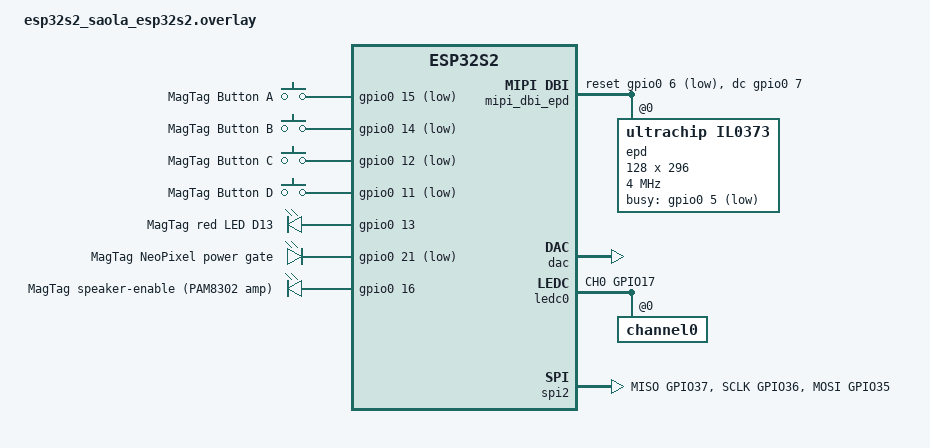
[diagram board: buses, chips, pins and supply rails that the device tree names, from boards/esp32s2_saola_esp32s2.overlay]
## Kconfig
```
# oevm app Kconfig — WiFi credentials for the ESP32 HTTP node (#46).
# Values are supplied by the git-ignored overlay prj_esp32_wifi.local.conf;
# the defaults below keep non-WiFi boards (DK/dongle) building.
config OEVM_WIFI_SSID
	string "WiFi SSID for the HTTP node"
	default ""

config OEVM_WIFI_PSK
	string "WiFi WPA2 PSK for the HTTP node"
	default ""

# #65 diagnostic. Default n so it never ships in a normal build: it costs a
# thread + stack and prints forever. Turned on by the prj_esp32_netdiag.conf
# overlay (run.sh --conf-extra), which also enables NET_BUF_POOL_USAGE.
config OEVM_NET_HEARTBEAT
	bool "Periodic net-buffer / context census on the console (#65 diagnostic)"
	default n
	depends on NETWORKING
	help
	  Prints a one-line census of the net_pkt slabs, the net_buf data pools and
	  the in-use net_contexts every OEVM_NET_HEARTBEAT_MS. Exists to answer one
	  question: when the node goes unreachable under load while still associated
	  to the AP, has a packet pool drained to zero (exhaustion) or is the kernel
	  no longer scheduling at all (deadlock)? The line stopping is as much of a
	  result as any value in it.

config OEVM_NET_HEARTBEAT_MS
	int "Heartbeat period in milliseconds"
	default 2000
	depends on OEVM_NET_HEARTBEAT

# #56 D8. Default n so it is not merely unreachable in a normal build but
# absent from it. Turned on by prj_esp32c6_faultgate.conf (run.sh --conf-extra),
# which also enables the coredump backend — a fault with no #CD: lines is a
# banner, not evidence. Same shape as OEVM_NET_HEARTBEAT above.
config OEVM_FAULT_TRIGGER
	bool "Fault on purpose at boot, to exercise the symbolizing path (#56)"
	default n
	help
	  Dereferences a null pointer from a known source line shortly after boot.
	  Exists so custos's backtrace (GET /board/<n>/panics/<i>/bt) is proven by a scripted gate rather than
	  by the next real incident. If this is set in a build you did not
	  deliberately configure, that build is wrong.

# rete#215 §8 row 1. Default n so it is not merely unreachable in a normal build but
# ABSENT from it — the same shape as OEVM_FAULT_TRIGGER above, and turned on only by
# prj_esp32c6_wedgegate.conf. It exists so "the note survives a watchdog reset" is proven
# by a scripted gate rather than by the next real wedge.
#
# This is NOT the Kconfig bench/field split design §9 rules out: the DETECTOR ships
# always-on and unchanged. What this gates is a synthetic wedge, and a gate needs one
# because a real wedge cannot be summoned on demand.
config OEVM_WEDGE_TRIGGER
	bool "Wedge on purpose after OEVM_WEDGE_TRIGGER_S seconds (rete#215)"
	default n
	help
	  Stops the reactor draining the pulse mailbox, which the observer must then
	  detect as OBS_COND_APP_STALE (rete#273: the feed stops moving past the
	  declared app cadence). If this is set in a build you did not
	  deliberately configure, that build is wrong.

config OEVM_WEDGE_TRIGGER_S
	int "Seconds after boot before the synthetic wedge"
	default 15
	depends on OEVM_WEDGE_TRIGGER

config OEVM_WEDGE_FORENSICS
	bool "Dump reactor/thread state when the wedge detector fires (rete#222)"
	default n
	select THREAD_MONITOR
	select THREAD_NAME
	select THREAD_STACK_INFO
	select INIT_STACKS
	select THREAD_RUNTIME_STATS   # SCHED_THREAD_USAGE defaults y underneath it
	help
	  EVIDENCE ONLY — it changes no verdict and reboots nothing. On a wedge the
	  observer additionally prints whether the VM's own cursors are still advancing,
	  and walks every thread for its state and stack headroom. That separates a
	  reactor stuck in the interpreter from one blocked on something that is not the
	  pulse mailbox, which is the fact #222, #192 and #213 have all lacked.

	  Not default-on: the selects cost SRAM (INIT_STACKS paints every stack) and the
	  T0.3 footprint ratchet is 75% spent. Turn it on for a hunt, not for a ship.

# rete#440 R1: the Net reader (src/backend/zephyr/udp_zephyr.c) waits in zsock_poll over
# the VM's sockets and the http listener, plus one eventfd that wakes it when that set
# changes. Every socket build links udp_zephyr.c (a Bluetooth build links udp_ble.c,
# which needs no reader), so this is not a choice: it follows the backend. The eventfd
# takes one descriptor, so the table grows by exactly one over Zephyr's own defaults
# (these defaults are read first, the app Kconfig being parsed before Kconfig.zephyr).
config OEVM_NET_READER
	bool
	default y if NET_SOCKETS && !BT
	select ZVFS
	select ZVFS_EVENTFD

config ZVFS_OPEN_MAX
	default 17 if OEVM_NET_READER && (WIFI_NM_WPA_SUPPLICANT || POSIX_API)
	default 5 if OEVM_NET_READER

# Every fd the build can open is pollable by the reader (PR #462 review): a socket the
# reader has no room for fails its bind, and this is what keeps that from happening.
# The reader's own stack and priority (2048 B, K_PRIO_PREEMPT(10)) copy the console
# tee's (log_udp.c, also 2048 B at K_PRIO_PREEMPT(10)); see udp_zephyr.c.
config ZVFS_POLL_MAX
	default ZVFS_OPEN_MAX if OEVM_NET_READER

source "Kconfig.zephyr"
```

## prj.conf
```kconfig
# oevm/zephyr — native_sim bring-up gate (Task 7). Minimal console + a
# generous main stack + heap for the VM arena. No OpenThread (native_sim has
# no radio); no USB-CDC (native_sim's console is the host's own stdout).
CONFIG_CONSOLE=y
CONFIG_STDOUT_CONSOLE=y

# libc with malloc/realloc/free, setjmp, snprintf, FP printf for the VM.
# native_sim selects picolibc by default; NEWLIB_LIBC is a no-op but harmless
# (mirrors ns-zephyr/app/prj_nativesim.conf's own note).
CONFIG_NEWLIB_LIBC=y
CONFIG_NEWLIB_LIBC_FLOAT_PRINTF=y
CONFIG_CBPRINTF_FP_SUPPORT=y
CONFIG_HEAP_MEM_POOL_SIZE=65536

CONFIG_MAIN_STACK_SIZE=16384

# Networking: src/dispatch.c's send() fast path unconditionally probes
# `receiver == udp_object()`, so src/udp.c + src/backend/zephyr/udp_zephyr.c
# must link even though this gate's node never grants a `net` capability.
# native_sim offloaded sockets (NSOS) — verbatim from
# ns-zephyr/app/prj_nativesim.conf, the proven native_sim UDP recipe on this
# workspace. No CONFIG_POSIX_API: it exports a bare `send()` that collides
# with oevm's own `send()` dispatch function in dispatch.c.
CONFIG_NETWORKING=y
CONFIG_NET_IPV6=y
CONFIG_NET_IPV4=y
CONFIG_NET_UDP=y
CONFIG_NET_DRIVERS=y
CONFIG_NET_SOCKETS=y
CONFIG_NET_SOCKETS_OFFLOAD=y
CONFIG_NET_NATIVE_OFFLOADED_SOCKETS=y
CONFIG_ETH_NATIVE_TAP=n
CONFIG_NET_IPV6_DAD=n
CONFIG_NET_MAX_CONTEXTS=8
CONFIG_NET_PKT_RX_COUNT=16
CONFIG_NET_PKT_TX_COUNT=16
CONFIG_NET_BUF_RX_COUNT=32
CONFIG_NET_BUF_TX_COUNT=32
```

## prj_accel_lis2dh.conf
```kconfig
# The sensor seam's 'accel' kind on Zephyr's st,lis2dh driver (rete#436): the
# LIS2DH family and the LSM303AGR accelerometer. Stacked with --conf-extra on top
# of a board's CONF_FILE; the board's devicetree overlay supplies the node and the
# `accel0` alias (run.sh --dtc-overlay, rete#438).
CONFIG_I2C=y
CONFIG_SENSOR=y
CONFIG_LIS2DH=y
# Any-motion (sensorArm:) needs a trigger mode. The global system work queue, not
# an own thread: the handler only posts a pulse, so a dedicated stack buys nothing.
CONFIG_LIS2DH_TRIGGER_GLOBAL_THREAD=y
# Any-motion compares high-passed acceleration, not gravity (sensor_zephyr.c arm_cfg).
CONFIG_LIS2DH_ACCEL_HP_FILTERS=y
```

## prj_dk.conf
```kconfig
# oevm/zephyr — Task 8 (nRF52840-DK acceptance bar) Kconfig.
#
# Selected explicitly with `west build -b nrf52840dk/nrf52840 -- -DCONF_FILE=prj_dk.conf`
# so the native_sim gate's prj.conf (Task 7) is NOT consulted — its NSOS
# offloaded-sockets block is native_sim-only and has no meaning on silicon. This
# file is the on-target counterpart: the SAME engine + zephyr backend, but with
# the console on the DK's uart0/VCOM and Zephyr's REAL in-kernel UDP stack over a
# loopback interface (the proven nRF52840 recipe from
# ns-zephyr/app/prj_dongle_loopback.conf).

# Console on uart0 -> the DK's on-board SEGGER VCOM (/dev/ttyACM0 on the host).
# This is the DK board default; stated explicitly for provenance. No USB-CDC:
# the DK routes its console to uart0, unlike the dongle.
CONFIG_CONSOLE=y
CONFIG_UART_CONSOLE=y
CONFIG_STDOUT_CONSOLE=y

# libc with malloc/realloc/free, setjmp, snprintf, FP printf for the VM arena.
# Sizes trimmed for the nRF52840's 256 KB SRAM (the native_sim gate's 64 KB pool
# / 16 KB stack are host-generous): the VM's own arena is the static
# `oevm_heap_store` (gc.c), sized by the OEVM_HEAP_SIZE compile-def passed via
# env at build time (65536 here — ~72 KB incl. the 1-bit-per-granule GC bitmap),
# NOT by CONFIG_HEAP_MEM_POOL_SIZE (that is Zephyr's own k_malloc pool, used by
# the net stack). 16 KB pool + 8 KB main stack mirror ns-zephyr's proven
# nRF52840 loopback config.
CONFIG_NEWLIB_LIBC=y
CONFIG_NEWLIB_LIBC_FLOAT_PRINTF=y
CONFIG_CBPRINTF_FP_SUPPORT=y
CONFIG_HEAP_MEM_POOL_SIZE=16384
CONFIG_MAIN_STACK_SIZE=8192
CONFIG_FPU=y

# GPIO: the on-board BUTTON1 (P0.11) is the physical edge source. The board DTS
# already enables gpio0; the overlay adds the `pulsegpio` alias onto button0.
CONFIG_GPIO=y

# Networking: Zephyr's in-kernel IPv6 + IPv4 UDP over a loopback interface —
# same reason as the native_sim gate, src/dispatch.c's send() fast path
# unconditionally probes `receiver == udp_object()`, so src/udp.c +
# src/backend/zephyr/udp_zephyr.c must LINK even though this gate's node grants
# no `net` capability. On silicon that means the real stack (no NSOS). NO
# CONFIG_POSIX_API: it exports a bare send() that collides with oevm's own
# send() dispatch function. Verbatim from ns-zephyr/app/prj_dongle_loopback.conf.
CONFIG_NETWORKING=y
CONFIG_NET_IPV6=y
CONFIG_NET_IPV4=y
CONFIG_NET_UDP=y
CONFIG_NET_SOCKETS=y
CONFIG_NET_DRIVERS=y
CONFIG_NET_LOOPBACK=y
CONFIG_NET_CONFIG_SETTINGS=y
CONFIG_NET_CONFIG_NEED_IPV6=y
CONFIG_NET_CONFIG_MY_IPV6_ADDR="::1"
CONFIG_NET_CONFIG_NEED_IPV4=y
CONFIG_NET_CONFIG_MY_IPV4_ADDR="127.0.0.1"
# Buffer counts trimmed vs the dongle recipe: this gate NEVER moves a packet
# (the net stack is present only so udp_zephyr.c's zsock_* references link), so
# the minimum that boots the loopback interface is enough — saves SRAM for the
# VM arena on the 256 KB part.
CONFIG_NET_MAX_CONTEXTS=4
CONFIG_NET_PKT_RX_COUNT=4
CONFIG_NET_PKT_TX_COUNT=4
CONFIG_NET_BUF_RX_COUNT=8
CONFIG_NET_BUF_TX_COUNT=8
```

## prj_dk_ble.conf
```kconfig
# oevm/zephyr/prj_dk_ble.conf — rete#439: the nRF52840 DK reaching porta over
# Bluetooth LE to a relay on David's phone, which forwards UDP over Tailscale. Same
# board, console and storage as prj_dk_thread.conf; the radio is the only difference.
# Selected with run.sh --board nrf52840dk --conf prj_dk_ble.conf.
CONFIG_CONSOLE=y
CONFIG_UART_CONSOLE=y
CONFIG_STDOUT_CONSOLE=y

CONFIG_NEWLIB_LIBC=y
CONFIG_NEWLIB_LIBC_FLOAT_PRINTF=y
CONFIG_CBPRINTF_FP_SUPPORT=y
CONFIG_FPU=y
CONFIG_HEAP_MEM_POOL_SIZE=32768
CONFIG_MAIN_STACK_SIZE=8192
CONFIG_GPIO=y
# reboot_note.c and ota_zephyr.c call sys_reboot; OpenThread had been selecting this.
CONFIG_REBOOT=y

# No IP stack (rete#439 design rule 2): the datagram seam is udp_ble.c, the console tee
# goes through it (log_udp.c), and http_zephyr.c answers -1 to a listen.

# --- Bluetooth LE peripheral + L2CAP connection-oriented channel (udp_ble.c) -------
CONFIG_BT=y
CONFIG_BT_PERIPHERAL=y
CONFIG_BT_DEVICE_NAME="oevm-dk"
CONFIG_BT_SMP=y
# Pair once (rete#439): the bond persists in settings/NVS; the app refuses a second.
CONFIG_BT_SETTINGS=y
CONFIG_BT_MAX_PAIRED=1
CONFIG_BT_SMP_APP_PAIRING_ACCEPT=y
# Just Works cannot authenticate, so the default MITM demand fails every pairing (error 9,
# measured on the ACC01 2026-10-23). LE Secure Connections stays on: BT_SMP_SC_PAIR_ONLY.
CONFIG_BT_SMP_ENFORCE_MITM=n
# CONFIG_BT_LONG_WQ_PRIO stays at its default (10). Pairing's key agreement runs on that
# queue; while the VM busy-polled for porta's reply it starved past SMP's 30 s timeout
# (ACC01, 2026-10-23) and this file forced 0. rete#440 R2 made the check-in reactions, so
# the VM blocks in the pump between events, and the workaround is removed: OCM.1 paired
# fresh without it (settings erased, re-paired on the Pixel, checked in 2026-11-09 12:49).
CONFIG_BT_L2CAP_DYNAMIC_CHANNEL=y
CONFIG_BT_MAX_CONN=1
# Larger link-layer packets: fewer radio events per datagram.
CONFIG_BT_BUF_ACL_RX_SIZE=251
CONFIG_BT_BUF_ACL_TX_SIZE=251
CONFIG_BT_L2CAP_TX_MTU=247
CONFIG_BT_CTLR_DATA_LENGTH_MAX=251

CONFIG_FLASH=y
CONFIG_FLASH_MAP=y
CONFIG_NVS=y
CONFIG_SETTINGS=y
CONFIG_SETTINGS_NVS=y
CONFIG_SOC_FLASH_NRF_PARTIAL_ERASE=y
CONFIG_SOC_FLASH_NRF_PARTIAL_ERASE_MS=2
CONFIG_SYSTEM_WORKQUEUE_STACK_SIZE=2048
```

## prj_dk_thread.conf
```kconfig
# oevm/zephyr/prj_dk_thread.conf — Rung 7 (Layer 3): NetBridge over real
# OpenThread on the nRF52840-DK, MTD child. Selected with
# `-DCONF_FILE=prj_dk_thread.conf`; the gitignored prj_dk_thread_local.conf is
# layered via `-DEXTRA_CONF_FILE` and overrides the placeholder dataset below.
#
# Console on uart0 -> on-board SEGGER VCOM (/dev/ttyACM0). No USB-CDC: the DK
# routes its console to uart0, so the ns-zephyr USB-coexistence config
# (USBD_CDC_ACM_WORKQUEUE, deferred enable, MANUAL_START) is NOT needed here.
CONFIG_CONSOLE=y
CONFIG_UART_CONSOLE=y
CONFIG_STDOUT_CONSOLE=y

# libc with malloc/realloc/free, setjmp, snprintf, FP printf for the VM arena.
CONFIG_NEWLIB_LIBC=y
CONFIG_NEWLIB_LIBC_FLOAT_PRINTF=y
CONFIG_CBPRINTF_FP_SUPPORT=y
CONFIG_FPU=y
# System heap: OT + mbedTLS + net boot-time allocs draw on this pool (NOT the VM
# arena, which is the static oevm_heap_store sized by OEVM_HEAP_SIZE). ns-zephyr
# learned 16384 is too small for the OT boot path; use 32768.
CONFIG_HEAP_MEM_POOL_SIZE=32768
CONFIG_MAIN_STACK_SIZE=8192

# GPIO: the on-board BUTTON1 (P0.11) is the physical send trigger (Task-8 seam).
CONFIG_GPIO=y

# --- Networking: IPv6 UDP over OpenThread (IEEE 802.15.4 mesh), MTD child ------
CONFIG_NETWORKING=y
CONFIG_NET_IPV6=y
CONFIG_NET_UDP=y
CONFIG_NET_SOCKETS=y
CONFIG_NET_L2_OPENTHREAD=y
# MTD, never FTD (David, firm — FTD's MPSL/radio/RAM weight faulted at boot and
# sat at 91% RAM). A leaf attaches as a child of the OTBR and sends through it.
CONFIG_OPENTHREAD_MTD=y
CONFIG_OPENTHREAD_FTD=n
# MANUAL_START: the app owns OT bring-up (src/main.c thread_bringup()), mirroring
# ns-zephyr's main_b.c. Rung-7 lesson: with auto-start the boot SYS_INIT calls
# openthread_run() (enables IPv6+Thread, node attaches) but NEVER net_if_up() on
# the Zephyr OT iface, and with NET_CONFIG off nothing else does either — so
# zsock_sendto fails ENETDOWN even though OT is attached (ping works, sockets
# don't). main.c calls openthread_run() + net_if_up() explicitly after boot.
CONFIG_OPENTHREAD_MANUAL_START=y
# OT init runs PSA/AES-CCM link crypto on this stack at boot; too small -> MPU
# fault before the console comes up (ns-zephyr lesson). 6240 is the proven size.
CONFIG_OPENTHREAD_THREAD_STACK_SIZE=6240
# rete#427: the dongle's value, not NCS's 15360 default for OPENTHREAD_NRF_SECURITY_PSA
# (which its Kconfig calls experimental). Same SoC, same MTD + PSA Thread config, and
# the dongles have attached and run on 10240 since 2026-08 (prj_dongle_thread.conf).
# The 5,120 B is what lets the DK — and an nRF52840 board built on this file — link
# at the 112 KB arena again.
CONFIG_MBEDTLS_HEAP_SIZE=10240
# NET_CONFIG OFF: its SYS_INIT blocks boot waiting for an IPv6 address and
# deadlocks a Thread node (ns-zephyr lesson). The node binds its own sockets.
CONFIG_NET_CONFIG_SETTINGS=n
CONFIG_NET_MAX_CONTEXTS=6
CONFIG_NET_PKT_RX_COUNT=8
CONFIG_NET_PKT_TX_COUNT=8
CONFIG_NET_BUF_RX_COUNT=16
CONFIG_NET_BUF_TX_COUNT=16

# --- Thread dataset persistence + the flash-erase lesson -----------------------
# OT persists its active dataset to NVS. A blocking flash erase at boot must be
# time-sliced (PARTIAL_ERASE) so it does not stall the system for long stretches
# (ns-zephyr's hard-won line; kept even though the DK has no USB to starve).
CONFIG_FLASH=y
CONFIG_FLASH_MAP=y
CONFIG_NVS=y
CONFIG_SETTINGS=y
CONFIG_SETTINGS_NVS=y
CONFIG_SOC_FLASH_NRF_PARTIAL_ERASE=y
CONFIG_SOC_FLASH_NRF_PARTIAL_ERASE_MS=2
CONFIG_SYSTEM_WORKQUEUE_STACK_SIZE=2048

# --- Thread dataset SEED — PLACEHOLDER (OpenThread defaults) --------------------
# SECRET: the REAL porta dataset (incl. network key) lives ONLY in the gitignored
# prj_dk_thread_local.conf, layered via -DEXTRA_CONF_FILE, overriding these. The
# node builds without the overlay but will NOT join the porta mesh.
CONFIG_OPENTHREAD_NETWORKKEY="00:11:22:33:44:55:66:77:88:99:aa:bb:cc:dd:ee:ff"
CONFIG_OPENTHREAD_PANID=43981
CONFIG_OPENTHREAD_CHANNEL=11
CONFIG_OPENTHREAD_XPANID="de:ad:00:be:ef:00:ca:fe"
CONFIG_OPENTHREAD_NETWORK_NAME="ot_zephyr"
```

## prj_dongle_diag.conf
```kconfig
# DIAGNOSTIC OVERLAY (dongle Issue-A follow-up) — stack as a 3rd conf, REMOVE after.
# The dongle build has CONFIG_LOG=n, so an ARM fault dies silently; minimal-mode
# logging makes the fault handler print synchronously via printk.
CONFIG_LOG=y
CONFIG_LOG_MODE_MINIMAL=y
CONFIG_ASSERT=y
```

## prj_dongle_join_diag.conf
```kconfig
# DIAGNOSTIC OVERLAY — "the node runs but never attaches" (rete#281, 2026-08-30).
# Stack as a 3rd conf; REMOVE after, like prj_dongle_diag.conf which it extends.
#
# THE TREATMENT: OpenThread selects SETTINGS->NVS on this board, and a PERSISTED
# dataset OVERRIDES the Kconfig seed. So an image carrying the correct credentials
# still joins whatever network the last image wrote into settings_storage — and this
# dongle has carried several, including rung-7/8 images that predate the gitignored
# real-dataset overlay and therefore persisted prj_dongle_thread.conf's PLACEHOLDER
# network (PAN 0xabcd, channel 11, "ot_zephyr"). SETTINGS_RAM makes OT forget on every
# boot and use the image's own dataset, which is the one verified against the live
# mesh (channel 14, PAN 0x437, OpenThread-0437).
#
# It is a DISCRIMINATOR, not a fix: attaching with this overlay proves the persisted
# dataset was the cause and the answer is to erase settings_storage, not to ship
# without persistence.
CONFIG_OPENTHREAD_SETTINGS_RAM=y

# THE INSTRUMENT: the dongle build has CONFIG_LOG=n, so an ARM fault — and every
# OpenThread complaint — dies silently. Minimal mode prints synchronously via printk.
CONFIG_LOG=y
CONFIG_LOG_MODE_MINIMAL=y
CONFIG_ASSERT=y
CONFIG_OPENTHREAD_LOG_LEVEL_INFO=y

# THE SHELL, added after three hypotheses each cost a flash (stale NVS dataset —
# refuted, SETTINGS_RAM applied and it still did not attach; wrong credentials —
# refuted against the live dataset; wrong gateway address — refuted, it is live on
# the gateway). Every one of those was a guess priced at a board cycle, and
# `ot state` / `ot dataset active` / `ot scan` answer all three classes directly.
#
# The dongle's DTS already routes zephyr,shell-uart to the same cdc-acm console, so
# this costs no wiring — the shell shares the port with the VM's tick output.
#
# thread_bringup.c's own header is why the SCAN matters most: on the C6 this exact
# symptom — role stuck DETACHED with a provably correct dataset — was a RADIO DRIVER
# bug (stop() mapped onto a full teardown), not a configuration one. A scan that sees
# the network proves the radio hears; a scan that sees nothing moves the search to the
# driver rather than to another credential.
CONFIG_SHELL=y
CONFIG_OPENTHREAD_SHELL=y
```

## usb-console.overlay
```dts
/*
 * oevm/zephyr/usb-console.overlay — NODE console on the SoC's own USB (RP2350).
 * Passed explicitly via EXTRA_DTC_OVERLAY_FILE with prj_rpi_pico2_usb.conf; not
 * under boards/, where it would silently apply to every rpi_pico2 build.
 *
 * NO hw-flow-control here, unlike layoutdump/usb-console.overlay: with it the CDC
 * console BLOCKS when the host does not drain, and a blocking console on a node
 * is a VM wedge (prj_dongle_thread.conf). Dropping under burst is the node's
 * safer default; the layoutdump is the one app where losslessness is the point.
 */
/ {
	chosen {
		zephyr,console = &usb_console_uart;
		zephyr,shell-uart = &usb_console_uart;
	};
};

&zephyr_udc0 {
	usb_console_uart: usb_console_uart {
		compatible = "zephyr,cdc-acm-uart";
	};
};
```

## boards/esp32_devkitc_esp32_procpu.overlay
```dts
/* AMG8833 Grid-EYE on the WROOM-32's i2c0.
 *
 * FILENAME IS LOAD-BEARING. Zephyr auto-applies boards/<board>_<qualifiers>.overlay,
 * where the qualifiers of the board target `esp32_devkitc/esp32/procpu` are joined
 * with underscores (cmake/modules/extensions.cmake:1709-1712) — hence
 * `esp32_devkitc_esp32_procpu.overlay`. A plain `esp32_devkitc.overlay` is NOT a name
 * the build looks for: it would be silently ignored, the amg88xx node would never
 * exist, the `thermal0` alias would name nothing, and every
 * `sensorRead: 'thermal'` would answer nil with no error anywhere. If the sensor never appears, check first
 * that the build log says "Found devicetree overlay: .../boards/<this file>".
 *
 * Pins verified against the board devicetree
 * (~/zephyr-esp32/zephyr/boards/espressif/esp32_devkitc/esp32_devkitc_procpu.dts:83-90):
 *   SDA -> GPIO21, SCL -> GPIO22, and i2c0 is already status = "okay" with
 *   clock-frequency set there, so this overlay only adds the sensor node.
 *
 * Wiring: VIN -> 3V3, GND -> GND, SDA -> GPIO21, SCL -> GPIO22, INT -> GPIO4.
 *
 * `int-gpios` is REQUIRED by the panasonic,amg88xx binding even in the no-trigger
 * phase-1 build (CONFIG_AMG88XX_TRIGGER_NONE=y), so the INT pin must be physically
 * wired or the driver will not initialize. It is open-drain active-low, so it needs a
 * pull-up; most breakouts have one on INT, and GPIO_PULL_UP is set here so the build
 * does not depend on that. GPIO4 was checked free — nothing in the board devicetree
 * claims it.
 *
 * Default I2C address is 0x69; it is 0x68 when AD_SELECT is tied low. If the device
 * does not probe, scan the bus before suspecting the driver — a strapped-low board
 * needs both the node name and `reg` changed to 0x68.
 */
#include <zephyr/dt-bindings/gpio/gpio.h>

&i2c0 {
	status = "okay";

	amg88xx: amg88xx@69 {
		compatible = "panasonic,amg88xx";
		reg = <0x69>;
		int-gpios = <&gpio0 4 (GPIO_ACTIVE_LOW | GPIO_PULL_UP)>;
		status = "okay";
	};
};

/* The sensor seam finds a kind's device by the alias `<kind>0` (rete#436,
   sensor_zephyr.c), never by node label. */
/ {
	aliases {
		thermal0 = &amg88xx;
	};
};
```

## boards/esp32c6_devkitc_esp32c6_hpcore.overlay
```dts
/* Enable the C6's built-in 802.15.4 radio for OpenThread.
 *
 * esp32c6_common.dtsi:85 declares:
 *     ieee802154: ieee802154 { compatible = "espressif,esp32-ieee802154";
 *                              status = "disabled"; };
 * CONFIG_IEEE802154_ESP32 depends on DT_HAS_ESPRESSIF_ESP32_IEEE802154_ENABLED,
 * so the driver does not build until this node is enabled.
 *
 * Filename is derived from the board qualifiers (esp32c6_devkitc/esp32c6/hpcore
 * -> esp32c6_devkitc_esp32c6_hpcore.overlay). CMake CACHES overlay discovery, so
 * a newly-added overlay needs -p always on the first build after adding it.
 */
#include <zephyr/dt-bindings/gpio/gpio.h>   /* GPIO_ACTIVE_LOW / GPIO_PULL_UP below */

&ieee802154 {
	status = "okay";
};

/* tuvm#100 — DS3231 on the C6's i2c0, the shipsBellsV3 timebase.
 *
 * i2c0 is ALREADY status = "okay" with clock-frequency = I2C_BITRATE_FAST in the
 * board devicetree (esp32c6_devkitc_hpcore.dts:53-58) on SDA -> GPIO6, SCL ->
 * GPIO7 (esp32c6_devkitc_hpcore-pinctrl.dtsi:38-39), so this overlay adds only
 * the device nodes. Same shape as the WROOM-32's amg88xx overlay next door,
 * including the load-bearing filename rule stated in that file's header.
 *
 * TWO NODES, not one: Zephyr's DS3231 support is an MFD. The parent
 * `maxim,ds3231-mfd` owns the I2C address and the shared register access; the
 * `maxim,ds3231-rtc` CHILD is what CONFIG_RTC_DS3231 binds and what
 * DEVICE_DT_GET must name. Pointing the alias at the parent yields a device with
 * no RTC API and rtc_get_time() fails at runtime with no build error.
 *
 * WIRING (bench, 2026-07-31): module VCC -> 3V3, GND -> GND, SDA -> GPIO6,
 * SCL -> GPIO7, SQW -> GPIO10. Power the module from 3V3 and NOT 5V: its
 * on-board R22/R23 pull SDA/SCL up to whatever VCC is fed, straight onto the
 * C6's pins. Do not add pull-ups here — the module already carries 10k on SDA,
 * SCL and INT/SQW (R21/R22/R23), so GPIO_PULL_UP below is belt-and-braces for a
 * module that lacks them, not a second parallel resistor worth worrying about.
 *
 * `isw-gpios` IS MANDATORY, and not because the binding says so — the binding
 * leaves it optional. The driver's device macro reads it with
 * GPIO_DT_SPEC_INST_GET, not the _OR form it uses for freq-32khz-gpios
 * (drivers/rtc/rtc_ds3231.c:855), so omitting the property is a COMPILE error,
 * not a graceful degradation. It is declared here ahead of the wire existing.
 * Nothing touches the pin while CONFIG_RTC_ALARM and CONFIG_RTC_UPDATE are both
 * off: rtc_ds3231_init_isw() — the only code that configures it — is inside
 * `#if defined(CONFIG_RTC_UPDATE) || defined(CONFIG_RTC_ALARM)` and both default
 * to n. Turning either on before the wire is physically in place makes device
 * init return -ENODEV and the whole RTC disappears, which is worth knowing
 * because it presents as "the driver is broken" rather than "the pin is
 * floating".
 *
 * GPIO10 was checked free on this part: nothing in the board devicetree claims
 * it, it is not a strapping pin (4/5/8/9/15), not USB (12/13), not the UART0
 * console (16/17), and not SPI flash (24-29 — ngpios is 30).
 *
 * freq-32khz-gpios is deliberately ABSENT. That pin is not wired, and the
 * driver does not use it either way (the binding says so outright); the seam
 * reads the time over I2C rather than disciplining anything against a 32 kHz
 * edge, which is exactly what the shipsBellsV3 design deleted along with the
 * MagTag's integrator (tuvm#101).
 *
 * The part on the bench module is marked DS3231M (MEMS, +/-5 ppm), not the
 * +/-2 ppm TCXO the run-of-five specifies. Same driver, same registers, worse
 * drift — see zephyr/boards/shipsBells/2026-07-26-shipsbellsv3-design.md §95.
 */
&i2c0 {
	status = "okay";

	ds3231: ds3231@68 {
		compatible = "maxim,ds3231-mfd";
		reg = <0x68>;
		status = "okay";

		ds3231_rtc: ds3231_rtc {
			compatible = "maxim,ds3231-rtc";
			status = "okay";
			/* GPIO11, and the number is MEASURED rather than planned (#102,
			 * 2026-08-04). §16.4/§1.2 both say GPIO10 and the bench wire runs
			 * SQW -> GPIO11. With 10 declared, everything looked healthy and
			 * nothing worked: the driver armed Alarm1, the part matched on
			 * schedule (A1F set every cycle) with INTCN=1 and A1IE=1 — and the
			 * pin we were watching had nothing attached to it, so it read
			 * inactive through its own pull-up, forever. An unconnected input
			 * with a pull-up is indistinguishable from an idle open-drain
			 * interrupt: only reading the part's flag AND the pin in the same
			 * breath tells them apart.
			 * GPIO11 clears the same list GPIO10 did: not strapping (4/5/8/9/15),
			 * not USB (12/13), not the UART0 console (16/17), not SPI flash
			 * (24-29), not the DS3231's own I2C pair (6/7), not the strike pin (18). */
			isw-gpios = <&gpio0 11 (GPIO_ACTIVE_LOW | GPIO_PULL_UP)>;
		};
	};
};

/* shipsBellsV3 §8/§15.1 — the strike solenoid's gate, on GPIO18.
 *
 * WIRING (bench, 2026-07-31): GPIO18 -> R1 (10k) -> 2N3904 base, per
 * zephyr/boards/shipsBells/2026-07-28-shipsbells-12v-bench-driver.png. The schematic's
 * box is still labelled "MagTag ESP32-S2" — §16.1 moved this rig to the C6 and
 * the diagram has not caught up. Same 3.3 V logic either way.
 *
 * ACTIVE_HIGH, and the polarity is load-bearing rather than cosmetic. The
 * schematic's note 2: "GPIO low, or MCU unplugged -> R2 holds the gate at +12 V
 * -> MOSFET OFF. The coil cannot energise." So the driver is fail-safe OFF, and
 * declaring it ACTIVE_HIGH is what makes wire_gpio_outputs()'s
 * GPIO_OUTPUT_INACTIVE (../src/main.c) drive the pin physically LOW at boot —
 * i.e. de-energised. Inverting this flag would energise the coil for the entire
 * life of the image, which is the burnt-coil failure §8 spends three independent
 * layers defending against. Do not "tidy" it.
 *
 * GPIO18 chosen over the other free pins on this part: not strapping (4/5/8/9/15,
 * with 9 = BOOT button and 8 = the onboard RGB LED), not USB (12/13), not the
 * UART0 console (16/17), not SPI flash (24-29), not the DS3231's I2C pair (6/7)
 * or its SQW (10) — and deliberately NOT one of GPIO0-6, which are ADC1 and are
 * wanted for §11.1's coil-current measurement. It is also NOT an LP GPIO (0-7):
 * those are the only deep-sleep-wake-capable pins, and §16.1 states this rig is
 * mains-powered precisely because of the striker, so there is nothing to spend
 * one on.
 *
 * Modelled as gpio-leds only to get a handle with no new binding — nothing
 * lights — exactly as the MagTag's NeoPixel power gate is
 * (boards/esp32s2_saola_esp32s2.overlay:96).
 */
/ {
	strike {
		compatible = "gpio-leds";

		solenoid: solenoid {
			gpios = <&gpio0 18 GPIO_ACTIVE_HIGH>;
			label = "shipsBellsV3 strike solenoid (12 V bench driver)";
		};
	};

	aliases {
		/* The seam names the RTC through this alias, never through a node
		 * label, so a board that wires a different part (the design's
		 * RV-3028-C7 fallback, §99) re-points one line here and
		 * wallclock_target_read() is untouched. */
		wallclock = &ds3231_rtc;

		/* tuvm#82 — the OUTBOUND gpio seam. The ALIAS NAME NEVER REACHES nsl: a
		 * node names the silkscreen number (18), which ../src/main.c matches
		 * against this spec's own .pin. Declaring it here is what gets the pin
		 * driven de-energised at boot by wire_gpio_outputs(), independently of
		 * whether anything ever strikes. */
		gpioout = &solenoid;
	};
};

/* rete#310 / rete#233 — the nsl program in its own flash, as TWO equal slots, carved
 * from the two firmware slots (1792K -> 1024K each; image-1 stays whole for MCUboot).
 * The firmware links no program on a board that has these nodes: run.sh and
 * `custos load` write program_a over the cable; a program pushed over the air is
 * staged into the inactive slot and the firmware boots it on trial (code-push design
 * §10, T2 and T5). The offsets are cited by protocol/IMAGE-ARTIFACTS.md §2a and copied
 * once, into custos/internal/load. Sizes are a starting point (firmware 587 KB, 488 KB
 * under MCUboot; largest program 199 KB, 2026-10-10); a firmware over 1024K or a
 * program over 768K is what earns a resize. Nothing after 0x3A0000 moves, so the
 * Thread dataset in `storage` survives. Deleting and redefining the slots is what
 * moves their unit addresses; the chosen code partition is restated because it named
 * the deleted node. */
/delete-node/ &slot0_partition;
/delete-node/ &slot1_partition;
&flash0 {
	partitions {
		slot0_partition: partition@20000 {
			label = "image-0";
			reg = <0x20000 DT_SIZE_K(1024)>;
		};
		slot1_partition: partition@120000 {
			label = "image-1";
			reg = <0x120000 DT_SIZE_K(1024)>;
		};
		program_a: partition@220000 {
			label = "program-a";
			reg = <0x220000 DT_SIZE_K(768)>;
		};
		program_b: partition@2e0000 {
			label = "program-b";
			reg = <0x2E0000 DT_SIZE_K(768)>;
		};
	};
};
/ {
	chosen {
		zephyr,code-partition = &slot0_partition;
	};
};
```

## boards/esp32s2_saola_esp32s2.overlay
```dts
/* Adafruit MagTag IO: four buttons, the red LED, and the NeoPixel power gate.
 *
 * FILENAME IS LOAD-BEARING. Zephyr auto-applies boards/<board>_<qualifiers>.overlay,
 * where the qualifiers of the board target `esp32s2_saola/esp32s2` are joined with
 * underscores (cmake/modules/extensions.cmake) — hence
 * `esp32s2_saola_esp32s2.overlay`. A plain `esp32s2_saola.overlay` is NOT a name the
 * build looks for: it would be silently ignored, the aliases below would never exist,
 * DT_NODE_EXISTS would compile the single-button branch of ../src/main.c, and three
 * of the four buttons would simply never fire with no error anywhere. If a button
 * does nothing, check FIRST that the build log says
 * "Found devicetree overlay: .../boards/esp32s2_saola_esp32s2.overlay".
 *
 * WHY esp32s2_saola AND NOT A MAGTAG BOARD: esp32s2_saola.dts:9 includes
 * <espressif/esp32s2/esp32s2_wrover_n4r2.dtsi>, which IS the MagTag's module
 * (ESP32-S2-WROVER, 4 MB flash, 2 MB PSRAM). The Saola and the MagTag differ only in
 * board IO — which is exactly what this file supplies. See zephyr/prj_esp32s2.conf.
 *
 * Pins verified against the vendor pinout diagram (zephyr/boards/magtag/, gitignored):
 *   BUTTON_A GPIO15   BUTTON_B GPIO14   BUTTON_C GPIO12   BUTTON_D GPIO11
 *   Red LED  GPIO13   NeoPixel data GPIO1   NeoPixel POWER GPIO21
 * All are 0..31, so all live on gpio0 (esp32s2_common.dtsi:215, ngpios = 32).
 * GPIO 32+ would need gpio1 — that is where the e-paper's SPI lands (35/36/37), which
 * is a later doc.
 *
 * BUTTONS ARE ACTIVE-LOW WITH NO BOARD PULL-UPS. The vendor guide is explicit:
 * "There are no pull-ups on board, use internal pullups for this pins - when the
 * buttons are pressed the IO pin labeled is set to LOW". So GPIO_PULL_UP is NOT
 * optional here — without it the pins float and fire spuriously. With ACTIVE_LOW set,
 * main.c's existing GPIO_INT_EDGE_TO_ACTIVE already means the falling edge, so that
 * line needed no change when this board arrived.
 *
 * LATENT HAZARD: GPIO15 (BUTTON_A) is also XTAL_32K_P. The MagTag fits no 32 kHz
 * crystal, so nothing claims it today — but if a future config ever enables one,
 * BUTTON_A dies silently.
 *
 * gpio-keys is used only as a well-known BINDING for (gpios, zephyr,code); the input
 * subsystem driver is NOT enabled (no CONFIG_INPUT_GPIO_KEYS), so nothing claims these
 * pins and ../src/main.c binds them directly via GPIO_DT_SPEC_GET on the aliases. That
 * is exactly how the nRF52840-DK and dongle overlays already use their board's
 * button0. zephyr,code values are therefore inert here; they are supplied because the
 * binding requires the property.
 *
 * ALIAS ORDER IS COSMETIC. main.c derives each input's LOGICAL pin from the DT spec's
 * own GPIO number whenever more than one alias exists, so an nsl node registers
 * `gpio pin: 15 ...` for BUTTON_A and reads like the silkscreen. The order below is
 * simply left-to-right as the buttons sit on the board (D15 D14 D12 D11).
 */
#include <zephyr/dt-bindings/gpio/gpio.h>
#include <zephyr/dt-bindings/input/input-event-codes.h>

/ {
	buttons {
		compatible = "gpio-keys";

		btn_a: button_a {
			gpios = <&gpio0 15 (GPIO_ACTIVE_LOW | GPIO_PULL_UP)>;
			label = "MagTag Button A";
			zephyr,code = <INPUT_KEY_A>;
		};
		btn_b: button_b {
			gpios = <&gpio0 14 (GPIO_ACTIVE_LOW | GPIO_PULL_UP)>;
			label = "MagTag Button B";
			zephyr,code = <INPUT_KEY_B>;
		};
		btn_c: button_c {
			gpios = <&gpio0 12 (GPIO_ACTIVE_LOW | GPIO_PULL_UP)>;
			label = "MagTag Button C";
			zephyr,code = <INPUT_KEY_C>;
		};
		btn_d: button_d {
			gpios = <&gpio0 11 (GPIO_ACTIVE_LOW | GPIO_PULL_UP)>;
			label = "MagTag Button D";
			zephyr,code = <INPUT_KEY_D>;
		};
	};

	leds {
		compatible = "gpio-leds";

		red_led: led_0 {
			gpios = <&gpio0 13 GPIO_ACTIVE_HIGH>;
			label = "MagTag red LED D13";
		};

		/* NOT an indicator — this is the NeoPixel POWER GATE. Per the vendor
		 * guide: "To use the NeoPixel LEDs you must also set pin 21 to be an
		 * output and LOW - this is the NeoPixel power pin. If not using the
		 * NeoPixels, keep pin 21 as an input or HIGH output - that will remove
		 * the quiescent power usage". Declared ACTIVE_LOW so that "on" in
		 * led/gpio terms means powered. It is modelled as an LED purely to get a
		 * gpio-leds handle with no new binding; nothing lights when it is set.
		 * Forgetting it is the classic MagTag time-sink: the strip looks dead.
		 * It is also RTC-capable, which matters at deep-sleep time — see
		 * docs/design/2026-07-23-magtag-buttons-leds-design.md D5.
		 */
		neopixel_power: neopixel_power {
			gpios = <&gpio0 21 GPIO_ACTIVE_LOW>;
			label = "MagTag NeoPixel power gate";
		};

		/* SPEAKER_ENABLE (GPIO16) — the shutdown pin of the onboard PAM8302
		 * class-D amp. Drive HIGH to un-mute; LOW leaves the amp shut down (its
		 * quiescent-draw default, like the NeoPixel gate). Modelled as gpio-leds
		 * only to get a handle with no new binding — nothing lights. The audio
		 * itself is a separate pin (SPEAKER = GPIO17, an LEDC/DAC output). RTC-
		 * capable, so it can hold an amp state across deep sleep if ever wanted.
		 */
		speaker_enable: speaker_enable {
			gpios = <&gpio0 16 GPIO_ACTIVE_HIGH>;
			label = "MagTag speaker-enable (PAM8302 amp)";
		};
	};

	aliases {
		/* pulsegpio (index 0) is the seam the nRF52840-DK and dongle already use;
		 * pulsegpio1..3 are the extension for multi-button boards. gpio_zephyr.c compiles
		 * out whichever are absent, so single-button boards are unaffected. */
		pulsegpio  = &btn_a;
		pulsegpio1 = &btn_b;
		pulsegpio2 = &btn_c;
		pulsegpio3 = &btn_d;

		magtagled = &red_led;
		neopixelpower = &neopixel_power;

		/* tuvm#82 — the OUTBOUND seam. gpioout* is to outputs what pulsegpio* is
		 * to inputs: ../src/main.c compiles the table away entirely on boards
		 * that declare none, so the nRF52840-DK and dongle are untouched. The
		 * ALIAS NAMES NEVER REACH nsl — a node names the silkscreen GPIO number
		 * (13 for the red LED, 21 for the NeoPixel power gate), which main.c
		 * matches against each spec's own .pin. */
		gpioout  = &red_led;
		gpioout1 = &neopixel_power;

		/* Speaker spike: the amp-enable GPIO for ../src/main.c's magtag_chime()
		 * (guarded by CONFIG_PWM, so absent from the button/WiFi builds). */
		spkren = &speaker_enable;
	};
};

/* SPEAKER audio path (spike). GPIO17 is the amp's audio input — it is DAC_1 and
 * also reachable from the LEDC (PWM) peripheral via the GPIO matrix. This spike
 * uses LEDC channel 0 for a square-wave tone (buzzy but audible); a real bell
 * tone wants the DAC (dac@3f408800, GPIO17 = DAC_1), a later rung. The pinmux
 * macro LEDC_CH0_GPIO17 comes from esp32s2-pinctrl.h (already pulled in by the
 * board's -pinctrl.dtsi). Inert unless CONFIG_PWM builds the LEDC driver, so the
 * proven button/WiFi images are unaffected. */
&pinctrl {
	ledc0_default: ledc0_default {
		group1 {
			pinmux = <LEDC_CH0_GPIO17>;
			output-enable;
		};
	};

	/* tuvm#88 — the e-paper's SPI2/FSPI pins. Verified present at
	 * zephyr/include/zephyr/dt-bindings/pinctrl/esp32s2-pinctrl.h:3608,3691,3778.
	 * NOTE: esp32s2_saola-pinctrl.dtsi already declares its OWN spim2_default
	 * (the Saola devboard's onboard default: GPIO13/12/10/11), referenced by
	 * &spi2 in the base esp32s2_saola.dts. Reusing the same node name here is
	 * deliberate — devicetree property assignment is whole-property-replace,
	 * not merge, so this definition simply overrides the Saola's own default
	 * pins with the MagTag's actual e-paper wiring for the same spi2
	 * controller. Confirmed safe with a standalone dtc merge (no duplicate-
	 * label error; the later group1/group2 properties fully replace the
	 * earlier ones) before relying on it here.
	 */
	spim2_default: spim2_default {
		group1 {
			pinmux = <SPIM2_MISO_GPIO37>;
			input-enable;
		};
		group2 {
			pinmux = <SPIM2_SCLK_GPIO36>,
				 <SPIM2_MOSI_GPIO35>;
			output-enable;
		};
	};
};

/* tuvm#94 — the DAC on GPIO17, the SAME pin as the LEDC chime above. DAC_1 is
 * GPIO17 on the S2 (DAC_2 is GPIO18, unused here). The node exists in
 * esp32s2_common.dtsi:381 (compatible "espressif,esp32-dac") but ships disabled.
 *
 * NO PINCTRL ENTRY, AND THAT IS NOT AN OMISSION. The legacy driver routes the
 * DAC output through RTC IO (dac_output_enable -> rtc_io_hal), not through the
 * GPIO matrix that pinctrl programs. So the DAC's claim on GPIO17 and the LEDC's
 * claim on GPIO17 are made in two different register families and neither is
 * visible from the other — the failure mode if both are active is silence with
 * rc=0 everywhere, indistinguishable from a driver fault. Exactly the i2c0 /
 * e-paper-CS race on GPIO8 documented at the foot of this file.
 *
 * They do not collide today only because CONFIG_PWM is not set in
 * prj_esp32s2.conf, so &ledc0's pinctrl route is never applied. Enabling PWM and
 * the DAC together requires disabling one of them here first.
 */
&dac {
	status = "okay";
};

&ledc0 {
	pinctrl-0 = <&ledc0_default>;
	pinctrl-names = "default";
	status = "okay";
	#address-cells = <1>;
	#size-cells = <0>;
	channel0@0 {
		reg = <0x0>;
		timer = <0>;
	};
};

/* tuvm#88 — the e-paper panel. Pins read off the vendor pinout diagram
 * (zephyr/boards/magtag/magtag-overview.png, DISPLAY block):
 *   EPD_BUSY 5  EPD_RESET 6  EPD_DC 7  EPD_CS 8   (all gpio0, RTC-capable)
 *   EPD_MOSI 35 EPD_SCK 36   EPD_MISO 37          (FSPI -> spi2, so gpio1)
 *
 * CS IS A PLAIN GPIO, NOT FSPICS0 (which is GPIO10 and goes to the D10 pad).
 * It is therefore driven by the SPI driver's cs-gpios, not by pinctrl.
 *
 * BUSY IS DECLARED ACTIVE_LOW because that is what the silicon does and what
 * ultrachip,uc81xx-common.yaml:20 requires ("The BUSY pin of UC81xx is active
 * low. If connected directly the MCU pin should be configured as active low").
 * uc81xx_busy_wait then spins while the LOGICAL level is 1. Note Adafruit's own
 * examples pass EPD_BUSY -1 and never read it (adafruit-magtag.pdf:5123) — the
 * pin is genuinely wired, they simply rely on fixed delays instead.
 *
 * THE PANEL IS 128 WIDE x 296 TALL AND STAYS THAT WAY. Neither
 * ultrachip,uc81xx-common.yaml nor uc81xx.c has any notion of 90/270 rotation
 * (unlike solomon,ssd16xx-common.yaml, which does) — an undeclared `rotation`
 * property is a hard edtlib error, not a warning. So the character grid is
 * PORTRAIT and the gate photo is taken with the board turned. tuvm#89 records
 * why landscape is expensive and why it is no longer wanted; 180 degrees IS
 * available and is the `rotate-180` boolean on the panel node below.
 *
 * The grid is 12 cols x 18 rows: CFB ships no 8x8 font — it has exactly three
 * (font1016/font1524/font2032) and index 0 is font1016 at 10x16 px, so
 * 128/10 = 12 and 296/16 = 18. The `8` that looks like a font size is CFB's
 * `ppt`, a TILING GRANULARITY (cfb.c:724). The numbers live in one place,
 * OEVM_DISPLAY_ROWS/COLS in src/platform_backend.h, and bring-up hard-checks
 * its derived values against them rather than printing them for a human.
 */
&spi2 {
	status = "okay";
	pinctrl-0 = <&spim2_default>;
	pinctrl-names = "default";
	#address-cells = <1>;
	#size-cells = <0>;
	cs-gpios = <&gpio0 8 GPIO_ACTIVE_LOW>;
};

/ {
	mipi_dbi_epd: mipi-dbi-epd {
		compatible = "zephyr,mipi-dbi-spi";
		spi-dev = <&spi2>;
		dc-gpios = <&gpio0 7 GPIO_ACTIVE_HIGH>;
		reset-gpios = <&gpio0 6 GPIO_ACTIVE_LOW>;
		write-only;
		#address-cells = <1>;
		#size-cells = <0>;

		epd: il0373@0 {
			compatible = "ultrachip,il0373";
			reg = <0>;
			mipi-max-frequency = <4000000>;
			width = <128>;
			height = <296>;
			busy-gpios = <&gpio0 5 GPIO_ACTIVE_LOW>;

			/* Which END of the portrait panel the text starts at. A
			 * double axis flip the CONTROLLER performs — clearing PSR's
			 * UD and SHL bits, one register write, no frame-buffer work
			 * (tuvm#89). Sharply unlike 90/270, which this family cannot
			 * do at all.
			 *
			 * ON is correct for THIS board, settled on the bench
			 * 2026-07-23: with it off, row 0 painted at the panel edge
			 * furthest from the flex connector and the board read
			 * upside down. Which state is right is a fact about how the
			 * panel is mounted and is not in any datasheet, which is why
			 * the knob shipped off and deferred to hardware. Rebuild
			 * confirms it costs nothing: dram0 86.10% either way. */
			rotate-180;

			full { };
			partial { };
		};
	};

	chosen {
		zephyr,display = &epd;
	};
};

/* tuvm#88 — disable i2c0: it and the e-paper CS both claim GPIO8. The base
 * board's i2c0_default pinctrl routes GPIO8 as I2C0 SDA, while &spi2 above
 * (line 221) drives the same pin as the e-paper's cs-gpios. Both drivers
 * program the same IO-MUX / GPIO-matrix registers for pin 8, and both
 * initialise at the same driver init priority, so which routing wins is
 * decided by device-dependency ordering, not by anything visible in this
 * file. If i2c0 wins the race, the CS line never toggles correctly, but
 * display_write still returns rc=0 — a blank panel with no error, which
 * reads exactly like a BUSY-pin fault and would send someone debugging the
 * wrong signal. Nothing on this board currently needs i2c0, so disable it
 * outright rather than leave the race latent. The MagTag does carry a
 * STEMMA QT connector (GPIO33/34) — when that I2C bus is wired up, give it
 * its own pinctrl on those pins rather than deleting this block.
 */
&i2c0 {
	status = "disabled";
};

/* rete#379 / rete#233 — the nsl program in its own flash, two equal slots: the carve
 * the C6 overlay made (esp32c6_devkitc_esp32c6_hpcore.overlay, the rationale is there).
 * The S2's default 4 MB table is the same table (partitions_0x1000_default_4M.dtsi),
 * so the same offsets hold. Without this the S2 linked its program into the firmware
 * and knew no sha, so a Debug goal could not be checked against the running program
 * and `custos load` had nothing to write. The chosen code partition is restated
 * because it named the deleted node. */
/delete-node/ &slot0_partition;
/delete-node/ &slot1_partition;
&flash0 {
	partitions {
		slot0_partition: partition@20000 {
			label = "image-0";
			reg = <0x20000 DT_SIZE_K(1024)>;
		};
		slot1_partition: partition@120000 {
			label = "image-1";
			reg = <0x120000 DT_SIZE_K(1024)>;
		};
		program_a: partition@220000 {
			label = "program-a";
			reg = <0x220000 DT_SIZE_K(768)>;
		};
		program_b: partition@2e0000 {
			label = "program-b";
			reg = <0x2E0000 DT_SIZE_K(768)>;
		};
	};
};
/ {
	chosen {
		zephyr,code-partition = &slot0_partition;
	};
};

/* rete#379 — the console RX (GPIO44, the UART Debug header) pulled up. The base
 * pinctrl leaves it floating; with the console now interrupt-driven
 * (prj_esp32s2.conf) a floating RX reads noise as bytes, and one byte is "someone
 * spoke" to the debug image's boot stop (rete#376) — or a newline is a pause. An
 * idle UART line is high, so the pull-up makes an unplugged header read as idle. */
&uart0_default {
	group2 {
		bias-pull-up;
	};
};
```

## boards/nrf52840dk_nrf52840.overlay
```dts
/*
 * oevm/zephyr — Task 8 (nRF52840-DK acceptance bar). Expose the DK's on-board
 * BUTTON1 (button0 = P0.11, GPIO_PULL_UP | GPIO_ACTIVE_LOW, already defined in
 * the board DTS) as the physical edge source for the pulse seam. The Zephyr
 * GPIO callback in ../src/backend/zephyr/gpio_zephyr.c binds to DT_ALIAS(pulsegpio) and, on each
 * press, calls gpio_target_fire(13) — the SAME logical pin the baked node
 * (PulseNodeDK.nsl) registered via `gpio pin: 13 ...`. This overlay is applied
 * automatically for the nrf52840dk/nrf52840 board target; it is absent for the
 * native_sim gate (Task 7), so the alias — and the ISR guarded on it — compile
 * out there, leaving the Task-7 build byte-for-byte unchanged.
 *
 * NOTE (board reality, 2026-07-08): the plan's draft targeted the nrf52840
 * *dongle* (button on P1.06); the hardware on the bench is the *DK*, whose
 * BUTTON1 is P0.11. This overlay reflects the DK.
 */
/ {
	aliases {
		pulsegpio = &button0;
	};
};
```

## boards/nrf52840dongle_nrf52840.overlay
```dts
/*
 * oevm/zephyr — Rung 7 dongle port. Expose the nRF52840 dongle's on-board button
 * (button0 = SW1, P1.06, GPIO_PULL_UP | GPIO_ACTIVE_LOW, defined in the board
 * DTS) as the physical edge source for the pulse seam — the same `pulsegpio`
 * alias the DK overlay uses (each board's DTS defines its own button0, so the
 * alias + the ISR in ../src/main.c are board-portable). On each press the GPIO
 * callback calls gpio_target_fire(13), the SAME logical pin the baked node
 * registers via `gpio pin: 13 ...`.
 *
 * Console: the dongle board DTS already includes cdc_acm_serial.dtsi, so the
 * chosen console is the SoC USB-CDC (cdc_acm_uart0) by default — no override
 * needed here (prj_dongle_thread.conf enables the USB stack + line-ctrl).
 */
/ {
	aliases {
		pulsegpio = &button0;
	};
};
```

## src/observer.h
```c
/* Copyright (c) 2026 Ekorau LLC */
#ifndef OEVM_OBSERVER_H
#define OEVM_OBSERVER_H
/* The wedge observer's two entry points (rete#215), defined in zephyr/src/observer.c;
 * the decision it acts on is observer_core.h. Both symbols link on EVERY Zephyr board:
 * a board without CONFIG_TASK_WDT gets bodies that say so, never a missing definition. */

/* Start the observer thread and the hardware watchdog, once at boot. */
void observer_start(void);

/* Disable the hardware watchdog and park: 3 consecutive faults with no check-in between.
 * Safe from the fatal handler in ISR context. Does not return. */
void observer_halt(void);

#endif
```

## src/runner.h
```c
/* Copyright (c) 2026 Ekorau LLC */
#ifndef OEVM_RUNNER_H
#define OEVM_RUNNER_H
#include <stddef.h>
#include <stdint.h>
/* rete#233 S2 — the firmware's half of the image-push runner: what oevm_runner.py is
 * on the host (code-push design §5, transcribed step for step per §10 T1), for the two
 * program slots `program_a` / `program_b` (T2). The manifest lives in `settings`
 * under "ota/" (T3); the signature seat is MCUboot's ed25519 over the 32 raw hash
 * bytes, against the public key compiled in from porta's pub file (T4); a slot the
 * manifest does not describe was written by the cable and is trusted as the cable is
 * (T5); a trial image gets ONE boot, plus a timer that resets a trial that never
 * confirms (T6). On a board without program slots every function below is a stub. */

/* Decide which slot to run and map it. 1 and the program's base/size; 0 when no slot is
   trustworthy (the node then idles with its console up, as an invalid program does).
   Prints one `runner: …` line per decision, the host runner's vocabulary. */
int  runner_select(const uint8_t **base, size_t *size);

/* The ota seam's three markers (ota_backend.h), in manifest terms. */
int  runner_ready(const uint8_t hash[32], const uint8_t *sig, int sig_len);  /* 1 = recorded */
void runner_confirm(void);                                                    /* trial := 0 */
int  runner_trial(void);                                                      /* this boot is a trial */
uint8_t runner_inactive_slot_id(void);     /* FIXED_PARTITION_ID of the staging slot */
int  runner_has_key(void);                 /* 0 = built without OEVM_OTA_PUBKEY: no OTA */

#endif
```
